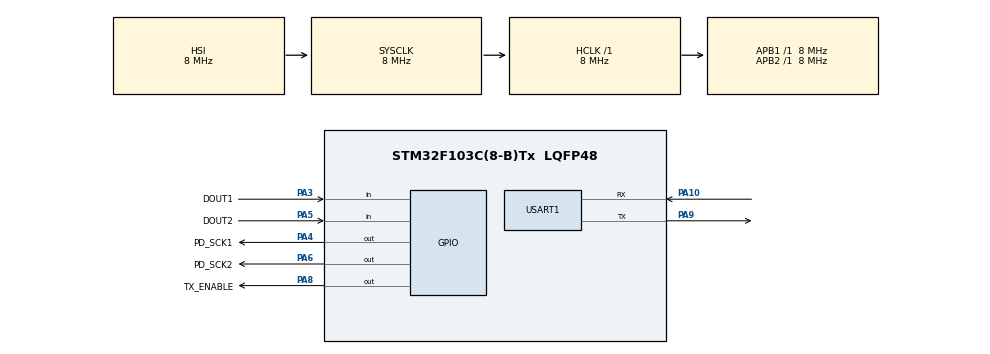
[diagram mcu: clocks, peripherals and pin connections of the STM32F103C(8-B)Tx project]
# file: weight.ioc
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Mcu.Family=STM32F1
Mcu.Name=STM32F103C(8-B)Tx
Mcu.Package=LQFP48
NVIC.PriorityGroup=NVIC_PRIORITYGROUP_4
PA10.Mode=Asynchronous
PA10.Signal=USART1_RX
PA13.Mode=Serial_Wire
PA13.Signal=SYS_JTMS-SWDIO
PA14.Mode=Serial_Wire
PA14.Signal=SYS_JTCK-SWCLK
PA3.GPIO_Label=DOUT1
PA3.Signal=GPIO_Input
PA4.GPIO_Label=PD_SCK1
PA4.Signal=GPIO_Output
PA5.GPIO_Label=DOUT2
PA5.Signal=GPIO_Input
PA6.GPIO_Label=PD_SCK2
PA6.Signal=GPIO_Output
PA8.GPIO_Label=TX_ENABLE
PA8.Signal=GPIO_Output
PA9.Mode=Asynchronous
PA9.Signal=USART1_TX
ProjectManager.HeapSize=0x200
ProjectManager.StackSize=0x400
ProjectManager.TargetToolchain=STM32CubeIDE
RCC.AHBFreq_Value=8000000
RCC.APB1Freq_Value=8000000
RCC.APB1TimCLKDivider=1
RCC.APB1TimFreq_Value=8000000
RCC.APB2Freq_Value=8000000
RCC.APB2TimFreq_Value=8000000
RCC.HCLKFreq_Value=8000000
RCC.SYSCLKFreq_VALUE=8000000
RCC.USBFreq_Value=8000000
TIM3.Period=49
TIM3.Prescaler=72-1
USART1.VirtualMode=VM_ASYNC
VP_TIM3_VS_ClockSourceINT.Mode=Internal
board=custom

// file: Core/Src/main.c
/* USER CODE BEGIN Header */
/**
  ******************************************************************************
  * @file           : main.c
  * @brief          : Main program body
  ******************************************************************************
  * @attention
  *
  * Copyright (c) 2024 STMicroelectronics.
  * All rights reserved.
  *
  * This software is licensed under terms that can be found in the LICENSE file
  * in the root directory of this software component.
  * If no LICENSE file comes with this software, it is provided AS-IS.
  *
  ******************************************************************************
  */
/* USER CODE END Header */
#include "main.h"

/* USER CODE BEGIN Includes */
#include "mb.h"
#include "mbport.h"
#include "hx711.h"
/* USER CODE END Includes */

TIM_HandleTypeDef htim3;

UART_HandleTypeDef huart1;

void SystemClock_Config(void);
static void MX_GPIO_Init(void);
static void MX_TIM3_Init(void);
static void MX_USART1_UART_Init(void);

/* USER CODE BEGIN 0 */
#define REG_INPUT_START 1000
#define REG_INPUT_NREGS 2
#define REG_HOLDING_START 2000
#define REG_HOLDING_NREGS 2

static USHORT   usRegInputStart = REG_INPUT_START;
static USHORT   usRegInputBuf[REG_INPUT_NREGS];
static USHORT   usRegHoldingStart = REG_HOLDING_START;
static USHORT   usRegHoldingBuf[REG_HOLDING_NREGS];
/* USER CODE END 0 */

int main(void)
{

  /* MCU Configuration--------------------------------------------------------*/

  /* Reset of all peripherals, Initializes the Flash interface and the Systick. */
  HAL_Init();

  /* Configure the system clock */
  SystemClock_Config();

  /* Initialize all configured peripherals */
  MX_GPIO_Init();
  MX_TIM3_Init();
  MX_USART1_UART_Init();
  /* USER CODE BEGIN 2 */
  eMBInit( MB_RTU, 0x20, 0, 115200, MB_PAR_NONE );
  Modbus_HTIM_Init(&htim3);
  Modbus_UART_Init(&huart1, TX_ENABLE_GPIO_Port, TX_ENABLE_Pin);
  eMBEnable(  );
  /* USER CODE END 2 */

  /* Infinite loop */
  /* USER CODE BEGIN WHILE */
  HX711 hx711;

  int32_t first_weightA;
  int32_t zero_first_weightA;
  int32_t second_weightA;
  int32_t zero_second_weightA;
  int32_t first_weightB;
  int32_t zero_first_weightB;
  int32_t second_weightB;
  int32_t zero_second_weightB;
  int32_t weight;
  usRegHoldingBuf[1] = 1;
  while (1)
  {
	  (void)eMBPoll();
	  	if (usRegHoldingBuf[1]) {
	  		hx711_init(&hx711, GPIOA, DOUT1_Pin, GPIOA, PD_SCK1_Pin);
	  		zero_first_weightA = hx711_value(&hx711, 1);
	  		zero_first_weightB = hx711_value(&hx711, 2);
//	  		hx711_init(&hx711, GPIOA, DOUT2_Pin, GPIOA, PD_SCK2_Pin);
//	  		zero_second_weightA = hx711_value(&hx711, 1);
//	  		zero_second_weightB = hx711_value(&hx711, 2);
	  		usRegHoldingBuf[1] = 0;
	  		}
	  	if (usRegHoldingBuf[0]) {
	  		hx711_init(&hx711, GPIOA, DOUT1_Pin, GPIOA, PD_SCK1_Pin);
	  		first_weightA  = hx711_value(&hx711, 1) - zero_first_weightA;
	  		first_weightB  = hx711_value(&hx711, 2) - zero_first_weightB;
//	  		hx711_init(&hx711, GPIOA, DOUT2_Pin, GPIOA, PD_SCK2_Pin);
//	  		second_weightA = hx711_value(&hx711, 1) - zero_second_weightA;
//	  		second_weightB = hx711_value(&hx711, 2) - zero_second_weightB;

	  		weight = (first_weightA + first_weightB) / 100;

	  		usRegInputBuf[0] = weight >> 16;
	  		usRegInputBuf[1] = weight & 0xFFFF;

	  		usRegHoldingBuf[0] = 0;
	  	}
    /* USER CODE END WHILE */

  }
}

void SystemClock_Config(void)
{
  RCC_OscInitTypeDef RCC_OscInitStruct = {0};
  RCC_ClkInitTypeDef RCC_ClkInitStruct = {0};

  /** Initializes the RCC Oscillators according to the specified parameters
  * in the RCC_OscInitTypeDef structure.
  */
  RCC_OscInitStruct.OscillatorType = RCC_OSCILLATORTYPE_HSI;
  RCC_OscInitStruct.HSIState = RCC_HSI_ON;
  RCC_OscInitStruct.HSICalibrationValue = RCC_HSICALIBRATION_DEFAULT;
  RCC_OscInitStruct.PLL.PLLState = RCC_PLL_NONE;
  if (HAL_RCC_OscConfig(&RCC_OscInitStruct) != HAL_OK)
  {
    Error_Handler();
  }

  /** Initializes the CPU, AHB and APB buses clocks
  */
  RCC_ClkInitStruct.ClockType = RCC_CLOCKTYPE_HCLK|RCC_CLOCKTYPE_SYSCLK
                              |RCC_CLOCKTYPE_PCLK1|RCC_CLOCKTYPE_PCLK2;
  RCC_ClkInitStruct.SYSCLKSource = RCC_SYSCLKSOURCE_HSI;
  RCC_ClkInitStruct.AHBCLKDivider = RCC_SYSCLK_DIV1;
  RCC_ClkInitStruct.APB1CLKDivider = RCC_HCLK_DIV1;
  RCC_ClkInitStruct.APB2CLKDivider = RCC_HCLK_DIV1;

  if (HAL_RCC_ClockConfig(&RCC_ClkInitStruct, FLASH_LATENCY_0) != HAL_OK)
  {
    Error_Handler();
  }
}

static void MX_TIM3_Init(void)
{

  TIM_ClockConfigTypeDef sClockSourceConfig = {0};
  TIM_MasterConfigTypeDef sMasterConfig = {0};

  htim3.Instance = TIM3;
  htim3.Init.Prescaler = 72-1;
  htim3.Init.CounterMode = TIM_COUNTERMODE_UP;
  htim3.Init.Period = 49;
  htim3.Init.ClockDivision = TIM_CLOCKDIVISION_DIV1;
  htim3.Init.AutoReloadPreload = TIM_AUTORELOAD_PRELOAD_DISABLE;
  if (HAL_TIM_Base_Init(&htim3) != HAL_OK)
  {
    Error_Handler();
  }
  sClockSourceConfig.ClockSource = TIM_CLOCKSOURCE_INTERNAL;
  if (HAL_TIM_ConfigClockSource(&htim3, &sClockSourceConfig) != HAL_OK)
  {
    Error_Handler();
  }
  sMasterConfig.MasterOutputTrigger = TIM_TRGO_RESET;
  sMasterConfig.MasterSlaveMode = TIM_MASTERSLAVEMODE_DISABLE;
  if (HAL_TIMEx_MasterConfigSynchronization(&htim3, &sMasterConfig) != HAL_OK)
  {
    Error_Handler();
  }

}

static void MX_USART1_UART_Init(void)
{

  huart1.Instance = USART1;
  huart1.Init.BaudRate = 115200;
  huart1.Init.WordLength = UART_WORDLENGTH_8B;
  huart1.Init.StopBits = UART_STOPBITS_1;
  huart1.Init.Parity = UART_PARITY_NONE;
  huart1.Init.Mode = UART_MODE_TX_RX;
  huart1.Init.HwFlowCtl = UART_HWCONTROL_NONE;
  huart1.Init.OverSampling = UART_OVERSAMPLING_16;
  if (HAL_UART_Init(&huart1) != HAL_OK)
  {
    Error_Handler();
  }

}

static void MX_GPIO_Init(void)
{
  GPIO_InitTypeDef GPIO_InitStruct = {0};

  /* GPIO Ports Clock Enable */
  __HAL_RCC_GPIOA_CLK_ENABLE();

  /*Configure GPIO pin Output Level */
  HAL_GPIO_WritePin(GPIOA, PD_SCK1_Pin|PD_SCK2_Pin|TX_ENABLE_Pin, GPIO_PIN_RESET);

  /*Configure GPIO pins : DOUT1_Pin DOUT2_Pin */
  GPIO_InitStruct.Pin = DOUT1_Pin|DOUT2_Pin;
  GPIO_InitStruct.Mode = GPIO_MODE_INPUT;
  GPIO_InitStruct.Pull = GPIO_NOPULL;
  HAL_GPIO_Init(GPIOA, &GPIO_InitStruct);

  /*Configure GPIO pins : PD_SCK1_Pin PD_SCK2_Pin TX_ENABLE_Pin */
  GPIO_InitStruct.Pin = PD_SCK1_Pin|PD_SCK2_Pin|TX_ENABLE_Pin;
  GPIO_InitStruct.Mode = GPIO_MODE_OUTPUT_PP;
  GPIO_InitStruct.Pull = GPIO_NOPULL;
  GPIO_InitStruct.Speed = GPIO_SPEED_FREQ_LOW;
  HAL_GPIO_Init(GPIOA, &GPIO_InitStruct);

}

/* USER CODE BEGIN 4 */
eMBErrorCode
eMBRegInputCB( UCHAR * pucRegBuffer, USHORT usAddress, USHORT usNRegs )
{
    eMBErrorCode    eStatus = MB_ENOERR;
    int             iRegIndex;

    if( ( usAddress >= REG_INPUT_START )
        && ( usAddress + usNRegs <= REG_INPUT_START + REG_INPUT_NREGS ) )
    {
        iRegIndex = ( int )( usAddress - usRegInputStart );
        while( usNRegs > 0 )
        {
            *pucRegBuffer++ = ( unsigned char )( usRegInputBuf[iRegIndex] >> 8 );
            *pucRegBuffer++ = ( unsigned char )( usRegInputBuf[iRegIndex] & 0xFF );
            iRegIndex++;
            usNRegs--;
        }
    }
    else
    {
        eStatus = MB_ENOREG;
    }

    return eStatus;
}

eMBErrorCode
eMBRegHoldingCB( UCHAR * pucRegBuffer, USHORT usAddress, USHORT usNRegs, eMBRegisterMode eMode )
{
    eMBErrorCode    eStatus = MB_ENOERR;
    int             iRegIndex;

    if( ( usAddress >= REG_HOLDING_START ) &&
        ( usAddress + usNRegs <= REG_HOLDING_START + REG_HOLDING_NREGS ) )
    {
        iRegIndex = ( int )( usAddress - usRegHoldingStart );
        switch ( eMode )
        {
            /* Pass current register values to the protocol stack. */
        case MB_REG_READ:
            while( usNRegs > 0 )
            {
                *pucRegBuffer++ = ( UCHAR ) ( usRegHoldingBuf[iRegIndex] >> 8 );
                *pucRegBuffer++ = ( UCHAR ) ( usRegHoldingBuf[iRegIndex] & 0xFF );
                iRegIndex++;
                usNRegs--;
            }
            break;

            /* Update current register values with new values from the
             * protocol stack. */
        case MB_REG_WRITE:
            while( usNRegs > 0 )
            {
                usRegHoldingBuf[iRegIndex] = *pucRegBuffer++ << 8;
                usRegHoldingBuf[iRegIndex] |= *pucRegBuffer++;
                iRegIndex++;
                usNRegs--;
            }
        }
    }
    else
    {
        eStatus = MB_ENOREG;
    }
    return eStatus;
}

eMBErrorCode
eMBRegCoilsCB( UCHAR * pucRegBuffer, USHORT usAddress, USHORT usNCoils, eMBRegisterMode eMode )
{
    return MB_ENOREG;
}

eMBErrorCode
eMBRegDiscreteCB( UCHAR * pucRegBuffer, USHORT usAddress, USHORT usNDiscrete )
{
    return MB_ENOREG;
}

/* USER CODE END 4 */

void Error_Handler(void)
{
  __disable_irq();
  while (1)
  {
  }
}
